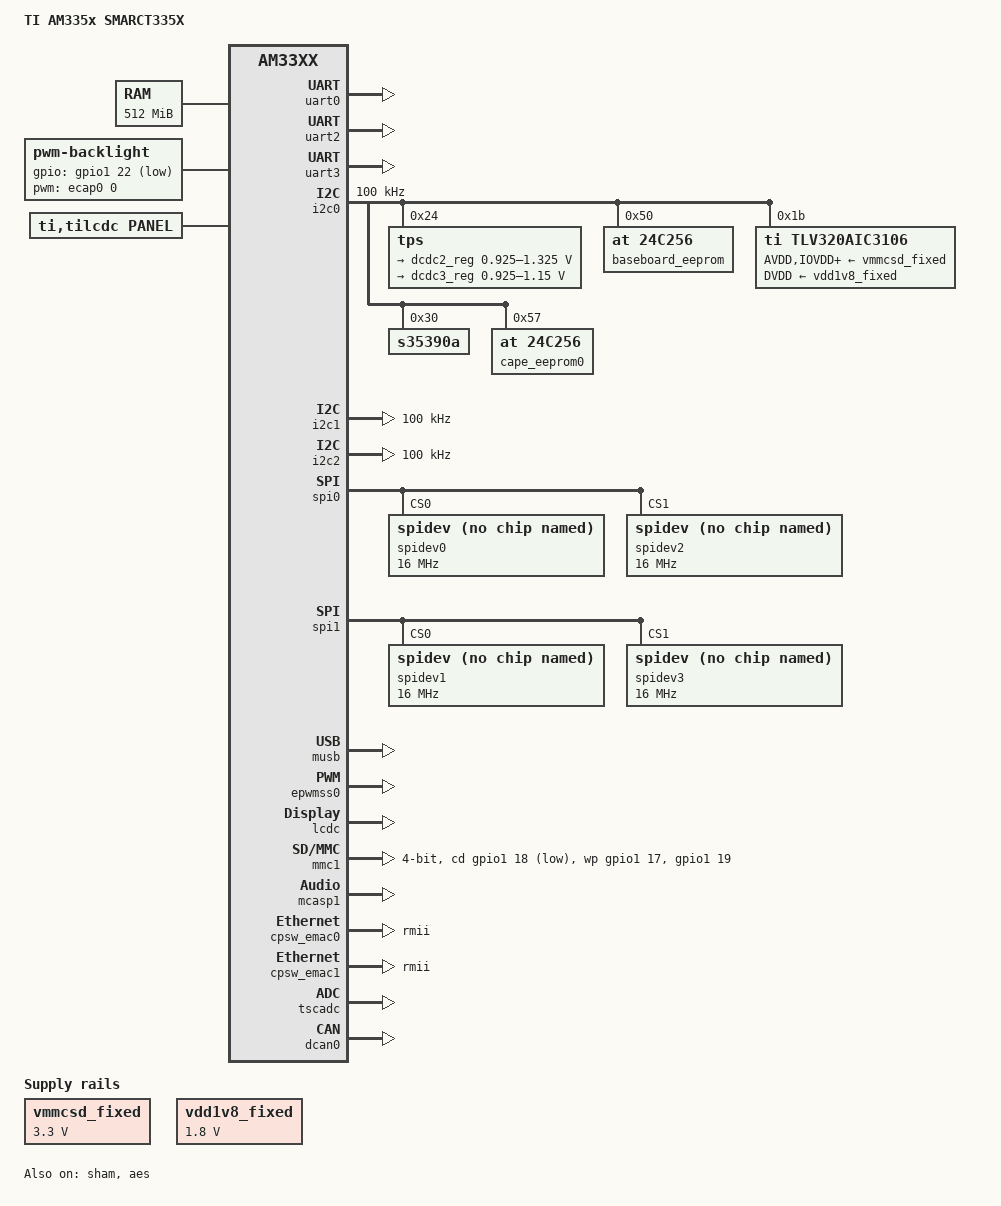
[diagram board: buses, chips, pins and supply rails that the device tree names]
/*
 * Copyright (C) 2012 Texas Instruments Incorporated - http://www.ti.com/
 *
 * This program is free software; you can redistribute it and/or modify
 * it under the terms of the GNU General Public License version 2 as
 * published by the Free Software Foundation.
 */

        /* state the resources this carrier uses for audio function*/
                /* the pin header uses for Audio*/
                /*
                "S.39",		mcasp1: mcasp0_fsr.mcasp1_fsx		mode3
                "S.40",        	mcasp1: mcasp0_axr1.mcasp1_axr0		mode3
                "S.41",        	mcasp1: mcasp0_ahclkx.mcasp1_axr1	mode3
                "S.42",         mcasp1: mcasp0_aclkr.mcasp1_aclkx       mode3
		*/
                /* the pin header uses for SPI1*/
                /*
		"P.54",        	spi1: mcasp0_ahclkr.spi1_cs0n 		mode3
                "P.55",        	spi1: xdma_event_intro0.spi1_cs1n 	mode4
                "P.56",       	spi1: mcasp0_aclkx.spi1_sclk 		mode3
                "P.57",        	spi1: mcasp0_fsx.spi1_d0 		mode3
                "P.58",         spi1: mcasp0_axr0.spi1_d1               mode3
		*/
                /* the pin header uses for LCD*/
		/*
                "S.114",       	lcd: lcd_data0.lcd_data0 		mode0
                "S.115",       	lcd: lcd_data1.lcd_data1 		mode0
                "S.116",      	lcd: lcd_data2.lcd_data2 		mode0
                "S.117",     	lcd: lcd_data3.lcd_data3 		mode0
                "S.118",      	lcd: lcd_data4.lcd_data4 		mode0
                "S.104",       	lcd: lcd_data5.lcd_data5 		mode0
                "S.105",      	lcd: lcd_data6.lcd_data6 		mode0
                "S.106",      	lcd: lcd_data7.lcd_data7 		mode0
                "S.107",       	lcd: lcd_data8.lcd_data8 		mode0
                "S.108",       	lcd: lcd_data9.lcd_data9 		mode0
                "S.109",      	lcd: lcd_data10.lcd_data10 		mode0
                "S.96",        	lcd: lcd_data11.lcd_data11 		mode0
                "S.97",        	lcd: lcd_data12.lcd_data12 		mode0
                "S.98",       	lcd: lcd_data13.lcd_data13 		mode0
                "S.99",        	lcd: lcd_data14.lcd_data14 		mode0
                "S.100",      	lcd: lcd_data15.lcd_data15 		mode0
                "S.113",       	lcd: lcd_data16.gpmc_ad15 		mode0
                "S.95",     	lcd: lcd_data17.gpmc_ad14		mode0
                "S.112",       	lcd: lcd_data18.gpmc_ad13		mode0
                "S.103",    	lcd: lcd_data19.gpmc_ad12 		mode0
                "S.94",        	lcd: lcd_data20.gpmc_ad11 		mode0
                "S.111",      	lcd: lcd_data21.gpmc_ad10 		mode0
                "S.102",       	lcd: lcd_data22.gpmc_ad9 		mode0
                "S.93",       	lcd: lcd_data23.gpmc_ad8 		mode0
                "S.121",      	lcd: lcd_vsync.lcd_vsync		mode0
                "S.122",       	lcd: lcd_hsync.lcd_hsync		mode0
                "S.123",      	lcd: lcd_pclk.lcd_pclk			mode0
                "S.120",      	lcd_de: lcd_ac_bias_en.lcd_ac_bias_en	mode0
                "S.133",      	lcd_vdd_en: gpmc_a7.gpio1_23		mode7
                "S.127",      	lcd_bklt_en: gpmc_a6.gpio1_22		mode7
	`	*/
                /* the pin header uses for DCAN0*/
		/*
                "P.143",       	dcan0_tx: gmii1_txd3.dcan0_tx		mode1
                "P.144",        dcan0_rx: gmii1_txd2.dcan0_rx	mode1
		*/
                /* the hardware ip uses */
		/*
                "mcasp1",
		"i2c0",
		"i2c1",
		"i2c2",
		"uart0",
		"uart2",
		"uart3",
		"touch",
		"mmc0/SD",
		"emmc",
		"ecap0/backlight",
		"emac0",
		"emac1",
                "gpio1_22",
                "gpio1_23",
		"gpio1_19",
                "lcd",
                "dcan0",
		"spi0",
                "spi1";
		*/

/ {
	model = "TI AM335x SMARCT335X";
	compatible = "ti,am335x-smarct335x", "ti,am33xx";

	cpus {
		cpu@0 {
			cpu0-supply = <&dcdc2_reg>;
                        /*
                         * To consider voltage drop between PMIC and SoC,
                         * tolerance value is reduced to 2% from 4% and
                         * voltage value is increased as a precaution.
                         */
                        operating-points = <
                                /* kHz    uV */
                                1000000 1325000
                                800000  1300000
                                600000  1112000
                                300000   969000
                        >;
			compatible = "arm,cortex-a8";
			voltage-tolerance = <0x2>;
			clock-latency = <0x493e0>;
			cpu0-supply = <0x2>;
		};
	};

	memory {
		device_type = "memory";
		reg = <0x80000000 0x20000000>; /* 512 MB */
	};

        am33xx_pinmux: pinmux@44e10800 {
                pinctrl-names = "default";
                pinctrl-0 = <&clkout2_pin &gpio_pins_default>;

        	i2c0_pins: pinmux_i2c0_pins {
                	pinctrl-single,pins = <
                        	0x188 (PIN_INPUT_PULLUP | MUX_MODE0)    /* i2c0_sda.i2c0_sda */
                        	0x18c (PIN_INPUT_PULLUP | MUX_MODE0)    /* i2c0_scl.i2c0_scl */
                	>;
        	};

        	i2c1_pins: pinmux_i2c1_pins {
                	pinctrl-single,pins = <
                        	0x180 (PIN_INPUT_PULLUP | MUX_MODE3)    /* uart1_rxd.i2c1_sda */
                        	0x184 (PIN_INPUT_PULLUP | MUX_MODE3)    /* uart1_txd.i2c1_scl */
                	>;
        	};

        	i2c2_pins: pinmux_i2c2_pins {
                	pinctrl-single,pins = <
                        	0x178 (PIN_INPUT_PULLUP | MUX_MODE3)    /* uart1_ctsn.i2c2_sda */
                        	0x17c (PIN_INPUT_PULLUP | MUX_MODE3)    /* uart1_rtsn.i2c2_scl */
                	>;
        	};

        	uart0_pins: pinmux_uart0_pins {
                	pinctrl-single,pins = <
                        	0x168 (PIN_INPUT_PULLUP | MUX_MODE6)     /* uart0_ctsn.uart0_ctsn */
                        	0x16c (PIN_OUTPUT | MUX_MODE6)           /* uart0_rtsn.uart0_rtsn */
                        	0x170 (PIN_INPUT_PULLUP | MUX_MODE0)    /* uart0_rxd.uart0_rxd */
                        	0x174 (PIN_OUTPUT_PULLDOWN | MUX_MODE0) /* uart0_txd.uart0_txd */
                	>;
        	};

        	uart2_pins: pinmux_uart2_pins {
                	pinctrl-single,pins = <
                        	0x12c (PIN_INPUT_PULLUP | MUX_MODE1)    /* mii1_txclk.uart2_rxd */
                        	0x130 (PIN_OUTPUT_PULLDOWN | MUX_MODE1) /* mii1_rxclk.uart2_txd */
                	>;
        	};

        	uart3_pins: pinmux_uart3_pins {
                	pinctrl-single,pins = <
                        	0x134 (PIN_INPUT_PULLUP | MUX_MODE1)    /* mii1_rxd3.uart3_rxd */
                        	0x138 (PIN_OUTPUT_PULLDOWN | MUX_MODE1) /* mii1_rxd2.uart3_txd */
                	>;
        	};

        	clkout2_pin: pinmux_clkout2_pin {
                	pinctrl-single,pins = <
                        	0x1b4 (PIN_OUTPUT_PULLDOWN | MUX_MODE3) /* xdma_event_intr1.clkout2 */
                	>;
        	};

		/*GPIO0-GPIO11, GPIO0-5 is input and GPIO6-11 is output by default.*/
                gpio_pins_default: pinmux_gpio_pin {
                        pinctrl-single,pins = <
                                0x118 (PIN_INPUT_PULLDOWN | MUX_MODE7) /* gmii1_rx_dv.gpio3_4 */
                                0x09c (PIN_INPUT_PULLDOWN | MUX_MODE7) /* gpmc_ben0_cle.gpio2_5 */
                                0x064 (PIN_INPUT_PULLDOWN | MUX_MODE7) /* gpmc_a9.gpio1_25 */
                                0x060 (PIN_INPUT_PULLDOWN | MUX_MODE7) /* gpmc_a8.gpio1_24 */
                                0x098 (PIN_INPUT_PULLDOWN | MUX_MODE7) /* gpmc_wen.gpio2_4 */
                                0x094 (PIN_INPUT_PULLDOWN | MUX_MODE7) /* gpmc_oenren.gpio2_3 */
                                0x078 (PIN_OUTPUT_PULLDOWN | MUX_MODE7) /* gpmc_ben1.gpio1_28 */
                                0x07c (PIN_OUTPUT_PULLDOWN | MUX_MODE7) /* gpmc_csn0.gpio1_29 */
                                0x088 (PIN_OUTPUT_PULLDOWN | MUX_MODE7) /* gpmc_csn3.gpio2_0 */
                                0x08c (PIN_OUTPUT_PULLDOWN | MUX_MODE7) /* gpmc_clk.gpio2_1 */
                                0x1e4 (PIN_OUTPUT_PULLDOWN | MUX_MODE7) /* emu0.gpio3_7 */
                                0x1e8 (PIN_OUTPUT_PULLDOWN | MUX_MODE7) /* emu1.gpio3_8 */
                        >;
                };

        	ecap0_pins_default: backlight_pins {
                	pinctrl-single,pins = <
                        	0x164 0x0       /* eCAP0_in_PWM0_out.eCAP0_in_PWM0_out MODE0 */
                	>;
        	};

                ecap0_pins_sleep: ecap0_pins_sleep {
                        pinctrl-single,pins = <
                                0x164  (PULL_DISABLE | MUX_MODE7)       /* eCAP0_in_PWM0_out.eCAP0_in_PWM0_out */
                        >;
                };

        	cpsw_default: cpsw_default {
                	pinctrl-single,pins = <
                        	/* Slave 1 */
                        	0x10c (PIN_INPUT_PULLUP | MUX_MODE1)    /* mii1_crs.rmii1_crs_dv */
                        	0x110 (PIN_INPUT_PULLUP | MUX_MODE1)    /* mii1_rxerr.rmii1_rxerr */
                        	0x114 (PIN_OUTPUT_PULLDOWN | MUX_MODE1) /* mii1_txen.rmii1_txen */
                        	0x124 (PIN_OUTPUT_PULLDOWN | MUX_MODE1) /* mii1_txd1.rmii1_txd1 */
                        	0x128 (PIN_OUTPUT_PULLDOWN | MUX_MODE1) /* mii1_txd0.rmii1_txd0 */
                        	0x13c (PIN_INPUT_PULLUP | MUX_MODE1)    /* mii1_rxd1.rmii1_rxd1 */
                        	0x140 (PIN_INPUT_PULLUP | MUX_MODE1)    /* mii1_rxd0.rmii1_rxd0 */
                        	0x144 (PIN_INPUT_PULLUP | MUX_MODE0)    /* rmii1_ref_clk.rmii1_ref_clk */

                        	/* Slave 2 */
                        	0x070 (PIN_INPUT_PULLUP | MUX_MODE3)    /* gpmc_wait0.rmii2_crs_dv */
                        	0x074 (PIN_INPUT_PULLUP | MUX_MODE3)    /* gpmc_wpn.rmii2_rxerr */
                        	0x040 (PIN_OUTPUT_PULLDOWN | MUX_MODE3) /* gpmc_a0.rmii2_txen */
                        	0x050 (PIN_OUTPUT_PULLDOWN | MUX_MODE3) /* gpmc_a4.rmii2_txd1 */
                        	0x054 (PIN_OUTPUT_PULLDOWN | MUX_MODE3) /* gpmc_a5.rmii2_txd0 */
                        	0x068 (PIN_INPUT_PULLUP | MUX_MODE3)    /* gpmc_a10.rmii2_rxd1 */
                        	0x06c (PIN_INPUT_PULLUP | MUX_MODE3)    /* gpmc_a11.rmii2_rxd0 */
                        	0x108 (PIN_INPUT_PULLUP | MUX_MODE1)    /* mii1_col.rmii2_ref_clk */
                	>;
        	};

        	cpsw_sleep: cpsw_sleep {
                	pinctrl-single,pins = <
                        	/* Slave 1 reset value */
                        	0x10c (PIN_INPUT_PULLDOWN | MUX_MODE7)
                        	0x110 (PIN_INPUT_PULLDOWN | MUX_MODE7)
                        	0x114 (PIN_INPUT_PULLDOWN | MUX_MODE7)
                        	0x124 (PIN_INPUT_PULLDOWN | MUX_MODE7)
                        	0x128 (PIN_INPUT_PULLDOWN | MUX_MODE7)
                        	0x13c (PIN_INPUT_PULLDOWN | MUX_MODE7)
                        	0x140 (PIN_INPUT_PULLDOWN | MUX_MODE7)
                        	0x144 (PIN_INPUT_PULLDOWN | MUX_MODE7)

                        	/* Slave 2 reset value */
                        	0x070 (PIN_INPUT_PULLDOWN | MUX_MODE7)
                        	0x074 (PIN_INPUT_PULLDOWN | MUX_MODE7)
                        	0x040 (PIN_INPUT_PULLDOWN | MUX_MODE7)
                        	0x050 (PIN_INPUT_PULLDOWN | MUX_MODE7)
                        	0x054 (PIN_INPUT_PULLDOWN | MUX_MODE7)
                        	0x068 (PIN_INPUT_PULLDOWN | MUX_MODE7)
                        	0x06c (PIN_INPUT_PULLDOWN | MUX_MODE7)
                        	0x108 (PIN_INPUT_PULLDOWN | MUX_MODE7)
                	>;
        	};

        	davinci_mdio_default: davinci_mdio_default {
                	pinctrl-single,pins = <
                        	/* MDIO */
                        	0x148 (PIN_INPUT_PULLUP | SLEWCTRL_FAST | MUX_MODE0)    /* mdio_data.mdio_data */
                        	0x14c (PIN_OUTPUT_PULLUP | MUX_MODE0)                   /* mdio_clk.mdio_clk */
                	>;
        	};

        	davinci_mdio_sleep: davinci_mdio_sleep {
                	pinctrl-single,pins = <
                        	/* MDIO reset value */
                        	0x148 (PIN_INPUT_PULLDOWN | MUX_MODE7)
                        	0x14c (PIN_INPUT_PULLDOWN | MUX_MODE7)
                	>;
        	};

        	mmc1_pins: pinmux_mmc1_pins {
                	pinctrl-single,pins = <
                                0x0F0 (PIN_INPUT_PULLUP | MUX_MODE0)    /* mmc0_dat3.mmc0_dat3 */
                                0x0F4 (PIN_INPUT_PULLUP | MUX_MODE0)    /* mmc0_dat2.mmc0_dat2 */
                                0x0F8 (PIN_INPUT_PULLUP | MUX_MODE0)    /* mmc0_dat1.mmc0_dat1 */
                                0x0FC (PIN_INPUT_PULLUP | MUX_MODE0)    /* mmc0_dat0.mmc0_dat0 */
                                0x100 (PIN_INPUT_PULLUP | MUX_MODE0)    /* mmc0_clk.mmc0_clk */
                                0x104 (PIN_INPUT_PULLUP | MUX_MODE0)    /* mmc0_cmd.mmc0_cmd */
                        	0x048 (PIN_INPUT | MUX_MODE7) /* GPIO1_18, MMC1_CD */
                        	0x044 (PIN_INPUT | MUX_MODE7) /* GPIO1_17, MMC1_WP */
                	>;
        	};

                mmc1_pins_sleep: pinmux_mmc1_pins_sleep {
                        pinctrl-single,pins = <
                                0x0F0 (PIN_INPUT_PULLDOWN | MUX_MODE7)
                                0x0F4 (PIN_INPUT_PULLDOWN | MUX_MODE7)
                                0x0F8 (PIN_INPUT_PULLDOWN | MUX_MODE7)
                                0x0FC (PIN_INPUT_PULLDOWN | MUX_MODE7)
                                0x100 (PIN_INPUT_PULLDOWN | MUX_MODE7)
                                0x104 (PIN_INPUT_PULLDOWN | MUX_MODE7)
                                0x1A0 (PIN_INPUT_PULLDOWN | MUX_MODE7)
                                0x160 (PIN_INPUT_PULLDOWN | MUX_MODE7)
                        >;
                };

        	emmc_pins: pinmux_emmc_pins {
                	pinctrl-single,pins = <
                        	0x80 (PIN_INPUT_PULLUP | MUX_MODE2) /* gpmc_csn1.mmc1_clk */
                        	0x84 (PIN_INPUT_PULLUP | MUX_MODE2) /* gpmc_csn2.mmc1_cmd */
                        	0x00 (PIN_INPUT_PULLUP | MUX_MODE1) /* gpmc_ad0.mmc1_dat0 */
                        	0x04 (PIN_INPUT_PULLUP | MUX_MODE1) /* gpmc_ad1.mmc1_dat1 */
                        	0x08 (PIN_INPUT_PULLUP | MUX_MODE1) /* gpmc_ad2.mmc1_dat2 */
                        	0x0c (PIN_INPUT_PULLUP | MUX_MODE1) /* gpmc_ad3.mmc1_dat3 */
                        	0x10 (PIN_INPUT_PULLUP | MUX_MODE1) /* gpmc_ad4.mmc1_dat4 */
                        	0x14 (PIN_INPUT_PULLUP | MUX_MODE1) /* gpmc_ad5.mmc1_dat5 */
                        	0x18 (PIN_INPUT_PULLUP | MUX_MODE1) /* gpmc_ad6.mmc1_dat6 */
                        	0x1c (PIN_INPUT_PULLUP | MUX_MODE1) /* gpmc_ad7.mmc1_dat7 */
                	>;
        	};

        	lcd_pins_default: lcd_pins_default {
                	pinctrl-single,pins = <
                        	0x3c 0x01       /* gpmc_ad15.lcd_data16, OUTPUT | MODE1 */
                        	0x38 0x01       /* gpmc_ad14.lcd_data17, OUTPUT | MODE1 */
                        	0x34 0x01       /* gpmc_ad13.lcd_data18, OUTPUT | MODE1 */
                        	0x30 0x01       /* gpmc_ad12.lcd_data19, OUTPUT | MODE1 */
                        	0x2c 0x01       /* gpmc_ad11.lcd_data20, OUTPUT | MODE1 */
                        	0x28 0x01       /* gpmc_ad10.lcd_data21, OUTPUT | MODE1 */
                        	0x24 0x01       /* gpmc_ad9.lcd_data22, OUTPUT | MODE1 */
                        	0x20 0x01       /* gpmc_ad8.lcd_data23, OUTPUT | MODE1 */
                        	0xa0 0x00       /* lcd_data0.lcd_data0, OUTPUT | MODE0 */
                        	0xa4 0x00       /* lcd_data1.lcd_data1, OUTPUT | MODE0 */
                        	0xa8 0x00       /* lcd_data2.lcd_data2, OUTPUT | MODE0 */
                        	0xac 0x00       /* lcd_data3.lcd_data3, OUTPUT | MODE0 */
                        	0xb0 0x00       /* lcd_data4.lcd_data4, OUTPUT | MODE0 */
                        	0xb4 0x00       /* lcd_data5.lcd_data5, OUTPUT | MODE0 */
                        	0xb8 0x00       /* lcd_data6.lcd_data6, OUTPUT | MODE0 */
                        	0xbc 0x00       /* lcd_data7.lcd_data7, OUTPUT | MODE0 */
                        	0xc0 0x00       /* lcd_data8.lcd_data8, OUTPUT | MODE0 */
                        	0xc4 0x00       /* lcd_data9.lcd_data9, OUTPUT | MODE0 */
                        	0xc8 0x00       /* lcd_data10.lcd_data10, OUTPUT | MODE0 */
                        	0xcc 0x00       /* lcd_data11.lcd_data11, OUTPUT | MODE0 */
                        	0xd0 0x00       /* lcd_data12.lcd_data12, OUTPUT | MODE0 */
                        	0xd4 0x00       /* lcd_data13.lcd_data13, OUTPUT | MODE0 */
                        	0xd8 0x00       /* lcd_data14.lcd_data14, OUTPUT | MODE0 */
                        	0xdc 0x00       /* lcd_data15.lcd_data15, OUTPUT | MODE0 */
                        	0xe0 0x00       /* lcd_vsync.lcd_vsync, OUTPUT | MODE0 */
                        	0xe4 0x00       /* lcd_hsync.lcd_hsync, OUTPUT | MODE0 */
                        	0xe8 0x00       /* lcd_pclk.lcd_pclk, OUTPUT | MODE0 */
                        	0xec 0x00       /* lcd_ac_bias_en.lcd_ac_bias_en, OUTPUT | MODE0 */
                             	0x5c 0x17       /* gpmc_a7.gpio1_23, MODE7 - LCD_VDD_EN */
                	>;
        	};


                lcd_pins_sleep: lcd_pins_sleep {
                        pinctrl-single,pins = <
                                0x3c (PIN_INPUT_PULLDOWN | MUX_MODE7)       /* gpmc_ad15.lcd_data16, OUTPUT | MODE1 */
                                0x38 (PIN_INPUT_PULLDOWN | MUX_MODE7)       /* gpmc_ad14.lcd_data17, OUTPUT | MODE1 */
                                0x34 (PIN_INPUT_PULLDOWN | MUX_MODE7)       /* gpmc_ad13.lcd_data18, OUTPUT | MODE1 */
                                0x30 (PIN_INPUT_PULLDOWN | MUX_MODE7)       /* gpmc_ad12.lcd_data19, OUTPUT | MODE1 */
                                0x2c (PIN_INPUT_PULLDOWN | MUX_MODE7)       /* gpmc_ad11.lcd_data20, OUTPUT | MODE1 */
                                0x28 (PIN_INPUT_PULLDOWN | MUX_MODE7)       /* gpmc_ad10.lcd_data21, OUTPUT | MODE1 */
                                0x24 (PIN_INPUT_PULLDOWN | MUX_MODE7)       /* gpmc_ad9.lcd_data22, OUTPUT | MODE1 */
                                0x20 (PIN_INPUT_PULLDOWN | MUX_MODE7)       /* gpmc_ad8.lcd_data23, OUTPUT | MODE1 */
                                0xa0 (PULL_DISABLE | MUX_MODE7)       	    /* lcd_data0.lcd_data0, OUTPUT | MODE0 */
                                0xa4 (PULL_DISABLE | MUX_MODE7)       	    /* lcd_data1.lcd_data1, OUTPUT | MODE0 */
                                0xa8 (PULL_DISABLE | MUX_MODE7)       	    /* lcd_data2.lcd_data2, OUTPUT | MODE0 */
                                0xac (PULL_DISABLE | MUX_MODE7)       	    /* lcd_data3.lcd_data3, OUTPUT | MODE0 */
                                0xb0 (PULL_DISABLE | MUX_MODE7)       	    /* lcd_data4.lcd_data4, OUTPUT | MODE0 */
                                0xb4 (PULL_DISABLE | MUX_MODE7)       	    /* lcd_data5.lcd_data5, OUTPUT | MODE0 */
                                0xb8 (PULL_DISABLE | MUX_MODE7)       	    /* lcd_data6.lcd_data6, OUTPUT | MODE0 */
                                0xbc (PULL_DISABLE | MUX_MODE7)       	    /* lcd_data7.lcd_data7, OUTPUT | MODE0 */
                                0xc0 (PULL_DISABLE | MUX_MODE7)       	    /* lcd_data8.lcd_data8, OUTPUT | MODE0 */
                                0xc4 (PULL_DISABLE | MUX_MODE7)       	    /* lcd_data9.lcd_data9, OUTPUT | MODE0 */
                                0xc8 (PULL_DISABLE | MUX_MODE7)       	    /* lcd_data10.lcd_data10, OUTPUT | MODE0 */
                                0xcc (PULL_DISABLE | MUX_MODE7)       	    /* lcd_data11.lcd_data11, OUTPUT | MODE0 */
                                0xd0 (PULL_DISABLE | MUX_MODE7)       	    /* lcd_data12.lcd_data12, OUTPUT | MODE0 */
                                0xd4 (PULL_DISABLE | MUX_MODE7)       	    /* lcd_data13.lcd_data13, OUTPUT | MODE0 */
                                0xd8 (PULL_DISABLE | MUX_MODE7)       	    /* lcd_data14.lcd_data14, OUTPUT | MODE0 */
                                0xdc (PULL_DISABLE | MUX_MODE7)       	    /* lcd_data15.lcd_data15, OUTPUT | MODE0 */
                                0xe0 (PIN_INPUT_PULLDOWN | MUX_MODE7)       /* lcd_vsync.lcd_vsync, OUTPUT | MODE0 */
                                0xe4 (PIN_INPUT_PULLDOWN | MUX_MODE7)       /* lcd_hsync.lcd_hsync, OUTPUT | MODE0 */
                                0xe8 (PIN_INPUT_PULLDOWN | MUX_MODE7)       /* lcd_pclk.lcd_pclk, OUTPUT | MODE0 */
                                0xec (PIN_INPUT_PULLDOWN | MUX_MODE7)       /* lcd_ac_bias_en.lcd_ac_bias_en, OUTPUT | MODE0 */
                        >;
                };

                mcasp1_pins: mcasp1_pins {
                	pinctrl-single,pins = <
                        	0x1a0 (PIN_INPUT_PULLDOWN | MUX_MODE3) /* mcasp0_aclkr.mcasp1_aclkx */
                        	0x1a4 (PIN_INPUT_PULLDOWN | MUX_MODE3) /* mcasp0_fsr.mcasp1_fsx */
                        	0x1a8 (PIN_OUTPUT_PULLDOWN | MUX_MODE3) /* mcasp0_axr1.mcasp1_axr0 */
                        	0x1ac (PIN_INPUT_PULLDOWN | MUX_MODE3) /* mcasp0_ahclkx.mcasp1_axr1 */
                	>;
        	};

                mcasp1_sleep_pins: mcasp1_sleep_pins {
                        pinctrl-single,pins = <
                                0x1a0 (PIN_INPUT_PULLDOWN | MUX_MODE7)
                                0x1a4 (PIN_INPUT_PULLDOWN | MUX_MODE7)
                                0x1a8 (PIN_INPUT_PULLDOWN | MUX_MODE7)
                                0x1ac (PIN_INPUT_PULLDOWN | MUX_MODE7)
                        >;
                };

        	spi0_pins: pinmux_spi0_pins {
                	pinctrl-single,pins = <
                        	0x150 (PIN_INPUT_PULLUP | MUX_MODE0)    /* spi0_sclk.spi0_sclk */
                        	0x154 (PIN_INPUT_PULLUP | MUX_MODE0)    /* spi0_d0.spi0_d0 */
                        	0x158 (PIN_OUTPUT_PULLUP | MUX_MODE0)   /* spi0_d1.spi0_d1 */
                        	0x15c (PIN_OUTPUT_PULLUP | MUX_MODE0)   /* spi0_cs0.spi0_cs0 */
                                0x160 (PIN_OUTPUT_PULLUP | MUX_MODE0)   /* spi0_cs1.spi0_cs1 */
                	>;
        	};

                spi1_pins: pinmux_spi1_pins {
                        pinctrl-single,pins = <
                                0x190 (PIN_INPUT_PULLUP | MUX_MODE3)    /* mcasp0_aclkx.spi1_sclk */
                                0x194 (PIN_INPUT_PULLUP | MUX_MODE3)    /* mcasp0_fsx.spi1_d0 */
                                0x198 (PIN_OUTPUT_PULLUP | MUX_MODE3)   /* mcasp0_axr0.spi1_d1 */
                                0x19c (PIN_OUTPUT_PULLUP | MUX_MODE3)   /* mcasp0_ahclkr.spi1_cs0 */
                                0x1b0 (PIN_OUTPUT_PULLUP | MUX_MODE4)   /* xdma_event_intr0.spi1_cs1 */
                        >;
                };

                dcan0_default: dcan0_default_pins {
                        pinctrl-single,pins = <
                                0x11c (PIN_OUTPUT_PULLDOWN | MUX_MODE1) /* gmii1_txd3.dcan0_tx */
                                0x120 (PIN_INPUT_PULLUP | MUX_MODE1) /* gmii1_txd2.dcan0_rx */
                        >;
                };

	};

        ocp {
                uart0: serial@44e09000 {
                        pinctrl-names = "default";
                        pinctrl-0 = <&uart0_pins>;

                        status = "okay";
                };

                uart2: serial@48024000 {
                        pinctrl-names = "default";
                        pinctrl-0 = <&uart2_pins>;

                        status = "okay";
                };

                uart3: serial@481a6000 {
                        pinctrl-names = "default";
                        pinctrl-0 = <&uart3_pins>;

                        status = "okay";
                };

                i2c0: i2c@44e0b000 {
                        pinctrl-names = "default";
                        pinctrl-0 = <&i2c0_pins>;

                        status = "okay";
                        clock-frequency = <100000>;

                        /* Set OPP50 (0.95V) for VDD core */
                        sleep-sequence = /bits/ 8 <
                                0x02 0x24 0x0b 0x6d /* Password unlock 1 */
                                0x02 0x24 0x10 0x02 /* Set DCDC3 to 0.95V */
                                0x02 0x24 0x0b 0x6d /* Password unlock 2 */
                                0x02 0x24 0x10 0x02 /* Set DCDC3 to 0.95V */
                                0x02 0x24 0x0b 0x6c /* Password unlock 1 */
                                0x02 0x24 0x11 0x86 /* Apply DCDC changes */
                                0x02 0x24 0x0b 0x6c /* Password unlock 2 */
                                0x02 0x24 0x11 0x86 /* Apply DCDC changes */
                        >;

                        /* Set OPP100 (1.10V) for VDD core */
                        wake-sequence = /bits/ 8 <
                                0x02 0x24 0x0b 0x6d /* Password unlock 1 */
                                0x02 0x24 0x10 0x08 /* Set DCDC3 to 1.1V */
                                0x02 0x24 0x0b 0x6d /* Password unlock 2 */
                                0x02 0x24 0x10 0x08 /* Set DCDC3 to 1.1V */
                                0x02 0x24 0x0b 0x6c /* Password unlock 1 */
                                0x02 0x24 0x11 0x86 /* Apply DCDC changes */
                                0x02 0x24 0x0b 0x6c /* Password unlock 2 */
                                0x02 0x24 0x11 0x86 /* Apply DCDC changes */
                        >;

                        tps: tps@24 {
                                reg = <0x24>;
                        	};

        		baseboard_eeprom: baseboard_eeprom@50 {
                		compatible = "at,24c256";
                		reg = <0x50>;
        		};

                        tlv320aic3106: tlv320aic3106@1b {
                                compatible = "ti,tlv320aic3106";
                                reg = <0x1b>;
                               	status = "okay";

				/* Regulators */
				AVDD-supply = <&vmmcsd_fixed>;
				IOVDD-supply = <&vmmcsd_fixed>;
				DRVDD-supply = <&vmmcsd_fixed>;
				DVDD-supply = <&vdd1v8_fixed>;
                        	};

                        s35390a: s35390a@30 {
                                compatible = "s35390a";
                                reg = <0x30>;
                        };

        		cape_eeprom0: cape_eeprom@57 {
                		compatible = "at,24c256";
                		reg = <0x57>;
        			};

                };

               i2c1: i2c@4802a000 {
                        pinctrl-names = "default";
                        pinctrl-0 = <&i2c1_pins>;
                        status = "okay";
                        clock-frequency = <100000>;
		};

               i2c2: i2c@4819c000 {
                        pinctrl-names = "default";
                        pinctrl-0 = <&i2c2_pins>;
                        status = "okay";
                        clock-frequency = <100000>;
                };

               spi0: spi@48030000 {
                        pinctrl-names = "default";
                        pinctrl-0 = <&spi0_pins>;
                        status = "okay";

	        	spidev0: spi@0 {
        	        	compatible = "spidev";
                		reg = <0>;
                		spi-max-frequency = <16000000>;
                		spi-cpha;
        		};

        		spidev2: spi@1 {
                		compatible = "spidev";
                		reg = <1>;
                		spi-max-frequency = <16000000>;
        		};
		};

               spi1: spi@481a0000 {
                        pinctrl-names = "default";
                        pinctrl-0 = <&spi1_pins>;
                        status = "okay";

                        spidev1: spi@0 {
                                compatible = "spidev";
                                reg = <0>;
                                spi-max-frequency = <16000000>;
                                spi-cpha;
                        };

                        spidev3: spi@1 {
                                compatible = "spidev";
                                reg = <1>;
                                spi-max-frequency = <16000000>;
                        };
                };

                rtc@44e3e000 {
                        status = "disabled";
                };

                musb: usb@47400000 {
                        status = "okay";

                        control@44e10620 {

                                status = "okay";
                        };

                        usb-phy@47401300 {
                                status = "okay";
                        };

                        usb@47401000 {
                                status = "okay";
				dr_mode = "host";
                        };

                        usb-phy@47401b00 {
                                status = "okay";
                        };

                        usb@47401800 {
                                status = "okay";
                                dr_mode = "host";
                        };

                        dma-controller@47402000  {
                                status = "okay";
                        };
                };

                epwmss0: epwmss@48300000 {
                        status = "okay";

                        ecap0: ecap@48300100 {
                                status = "okay";
                                pinctrl-names = "default", "sleep";
                                pinctrl-0 = <&ecap0_pins_default>;
                                pinctrl-1 = <&ecap0_pins_sleep>;
                        };
                };

                lcdc: lcdc@0x4830e000 {
                        pinctrl-names = "default", "sleep";
                        pinctrl-0 = <&lcd_pins_default>;
                        pinctrl-1 = <&lcd_pins_sleep>;
                        status = "okay";
                        display-timings {
                                800x480p60 {
                                	clock-frequency = <32000000>;
                                	hactive = <800>;
                                	vactive = <480>;
                                	hfront-porch = <42>;
                                	hback-porch = <84>;
                                	hsync-len = <128>;
                                	vback-porch = <33>;
                                	vfront-porch = <10>;
                                	vsync-len = <2>;
                                	hsync-active = <0>;
                                	vsync-active = <0>;
                                };
                        };
                };

        	sound {
                       compatible = "ti,da830-evm-audio";
                        ti,model = "TLV320AIC3106 SOUND CARD";
                        ti,audio-codec = <&tlv320aic3106>;
                        ti,mcasp-controller = <&mcasp1>;
                        ti,codec-clock-rate = <24576000>;
                        ti,audio-routing =
                                "Headphone Jack",       "HPLOUT",
                                "Headphone Jack",       "HPROUT",
                                "LINE1L",               "Line In",
                                "LINE1R",               "Line In";
        	};
	};

        backlight {
                compatible = "pwm-backlight";
		gpios = <&gpio1 22 1>; /* Backlight Enable Pin*/
                pwms = <&ecap0 0 50000 0>;
                brightness-levels = <0 51 53 56 62 75 101 152 255>;
                default-brightness-level = <8>;
        };

       	/* Settings for PVI PM070WL4 800x480 panel*/
        panel {
                compatible = "ti,tilcdc,panel";
                status = "okay";
                pinctrl-names = "default";
                pinctrl-0 = <&lcd_pins_default>;
                panel-info {
                        ac-bias           = <255>;
                        ac-bias-intrpt    = <0>;
                        dma-burst-sz      = <16>;
                        bpp               = <32>;
                        fdd               = <0x80>;
                        sync-edge         = <0>;
                        sync-ctrl         = <1>;
                        raster-order      = <0>;
                        fifo-th           = <0>;
                       /*invert-pxl-clk;*/ /*pixel clock polarity*/
                };

                display-timings {
                        800x480p60 {
                                clock-frequency = <32000000>;
                                hactive = <800>;
                                vactive = <480>;
                                hfront-porch = <42>;
                                hback-porch = <84>;
                                hsync-len = <128>;
                                vback-porch = <33>;
                                vfront-porch = <10>;
                                vsync-len = <2>;
                                hsync-active = <0>;
                                vsync-active = <0>;
                        };
                };
        };

        vmmcsd_fixed: fixedregulator@0 {
                compatible = "regulator-fixed";
                regulator-name = "vmmcsd_fixed";
                regulator-min-microvolt = <3300000>;
                regulator-max-microvolt = <3300000>;
        };

	vdd1v8_fixed: fixedregulator@1 {
              	compatible = "regulator-fixed";
               	regulator-name = "vdd1v8_fixed";
               	regulator-min-microvolt = <1800000>;
              	regulator-max-microvolt = <1800000>;
                };
};

/include/ "tps65217.dtsi"

&tps {
	regulators {
		dcdc1_reg: regulator@0 {
			regulator-always-on;
		};

		dcdc2_reg: regulator@1 {
			/* VDD_MPU voltage limits 0.95V - 1.26V with +/-4% tolerance */
			regulator-name = "vdd_mpu";
			regulator-min-microvolt = <925000>;
			regulator-max-microvolt = <1325000>;
			regulator-boot-on;
			regulator-always-on;
		};

		dcdc3_reg: regulator@2 {
			/* VDD_CORE voltage limits 0.95V - 1.1V with +/-4% tolerance */
			regulator-name = "vdd_core";
			regulator-min-microvolt = <925000>;
			regulator-max-microvolt = <1150000>;
			regulator-boot-on;
			regulator-always-on;
		};

		ldo1_reg: regulator@3 {
			regulator-always-on;
		};

		ldo2_reg: regulator@4 {
			regulator-always-on;
		};

		ldo3_reg: regulator@5 {
			regulator-always-on;
		};

		ldo4_reg: regulator@6 {
			regulator-always-on;
		};
	};
};

&edma {
        ti,edma-xbar-event-map = <1 12
                                  2 13>;
};

&mmc1 {
        status = "okay";
        bus-width = <0x4>;
        pinctrl-names = "default";
        pinctrl-0 = <&mmc1_pins>;
        gpios = <&gpio1 19 1>; /* mmc0 power enable*/
        cd-gpios = <&gpio1 18 GPIO_ACTIVE_HIGH>;
        cd-inverted;
        wp-gpios = <&gpio1 17 GPIO_ACTIVE_HIGH>;
};

&mcasp1 {
                pinctrl-names = "default", "sleep";
                pinctrl-0 = <&mcasp1_pins>;
                pinctrl-1 = <&mcasp1_sleep_pins>;

                status = "okay";

                op-mode = <0>;          /* MCASP_IIS_MODE */
                tdm-slots = <2>;
                /* 4 serializers */
                serial-dir = <  /* 0: INACTIVE, 1: TX, 2: RX */
                        1 2 0 0
                >;
                tx-num-evt = <1>;
                rx-num-evt = <1>;
};

&mac {
        pinctrl-names = "default", "sleep";
        pinctrl-0 = <&cpsw_default>;
        pinctrl-1 = <&cpsw_sleep>;
        dual_emac;
};

&davinci_mdio {
        pinctrl-names = "default", "sleep";
        pinctrl-0 = <&davinci_mdio_default>;
        pinctrl-1 = <&davinci_mdio_sleep>;
};

&cpsw_emac0 {
	phy_id = <&davinci_mdio>, <0>;
	phy-mode = "rmii";
        dual_emac_res_vlan = <1>;
};

&cpsw_emac1 {
	phy_id = <&davinci_mdio>, <1>;
	phy-mode = "rmii";
        dual_emac_res_vlan = <2>;
};

&phy_sel {
	reg= <0x44e10650 0xf5>;
        rmii-clock-ext;
};

&tscadc {
        status = "okay";
        tsc {
                ti,wires = <4>;
                ti,x-plate-resistance = <200>;
                ti,coordinate-readouts = <5>;
                ti,wire-config = <0x00 0x11 0x22 0x33>;
        };

        adc {
                ti,adc-channels = <0 1 2 3>;
        };
};

&dcan0 {
        pinctrl-names = "default";
        pinctrl-0 = <&dcan0_default>;
        status = "okay";
};

&sham {
        status = "okay";
};

&aes {
        status = "okay";
};
